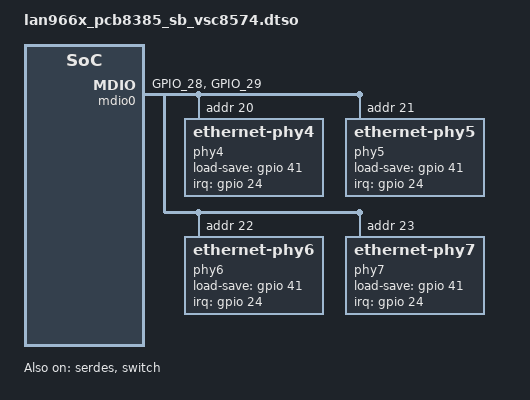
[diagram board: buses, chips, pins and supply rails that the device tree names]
// SPDX-License-Identifier: (GPL-2.0 OR MIT)
/dts-v1/;
/plugin/;

#include "phy-lan966x-serdes.h"
#include "arm-gic.h"
#include "irq.h"
#include "gpio.h"

/ {
	fragment@0 {
		target = <&mdio0>;
		__overlay__ {
			pinctrl-0 = <&miim_a_pins>;
			pinctrl-names = "default";
			status = "okay";

			phy4: ethernet-phy4 {
				reg = <0x14>;
				interrupts = <24 IRQ_TYPE_LEVEL_LOW>;
				interrupt-parent = <&gpio>;
				load-save-gpios = <&gpio 41 GPIO_ACTIVE_HIGH>;
			};
			phy5: ethernet-phy5 {
				reg = <0x15>;
				interrupts = <24 IRQ_TYPE_LEVEL_LOW>;
				interrupt-parent = <&gpio>;
				load-save-gpios = <&gpio 41 GPIO_ACTIVE_HIGH>;
			};
			phy6: ethernet-phy6 {
				reg = <0x16>;
				interrupts = <24 IRQ_TYPE_LEVEL_LOW>;
				interrupt-parent = <&gpio>;
				load-save-gpios = <&gpio 41 GPIO_ACTIVE_HIGH>;
			};
			phy7: ethernet-phy7 {
				reg = <0x17>;
				interrupts = <24 IRQ_TYPE_LEVEL_LOW>;
				interrupt-parent = <&gpio>;
				load-save-gpios = <&gpio 41 GPIO_ACTIVE_HIGH>;
			};
		};
	};

	fragment@1 {
		target = <&port4>;
		__overlay__ {
			reg = <6>;
			status = "okay";
			phy-handle = <&phy6>;
			phy-mode = "qsgmii";
			phys = <&serdes 4 SERDES6G(2)>;
		};
	};

	fragment@2 {
		target = <&port5>;
		__overlay__ {
			reg = <7>;
			status = "okay";
			phy-handle = <&phy7>;
			phy-mode = "qsgmii";
			phys = <&serdes 5 SERDES6G(2)>;
		};
	};

	fragment@3 {
		target = <&port6>;
		__overlay__ {
			reg = <4>;
			status = "okay";
			phy-handle = <&phy4>;
			phy-mode = "qsgmii";
			phys = <&serdes 6 SERDES6G(2)>;
		};
	};

	fragment@4 {
		target = <&port7>;
		__overlay__ {
			reg = <5>;
			status = "okay";
			phy-handle = <&phy5>;
			phy-mode = "qsgmii";
			phys = <&serdes 7 SERDES6G(2)>;
		};
	};

	fragment@5 {
		target = <&serdes>;
		__overlay__ {
			status = "okay";
		//	microchip,s2-tx-inverted;
		};
	};

	fragment@6 {
		target = <&gpio>;
		__overlay__ {
			miim_a_pins: mdio-pins {
				/* MDC, MDIO */
				pins =  "GPIO_28", "GPIO_29";
				function = "miim_a";
			};
		};
	};

	fragment@7 {
		target = <&switch>;
		__overlay__ {
			status = "okay";
		};
	};
};
